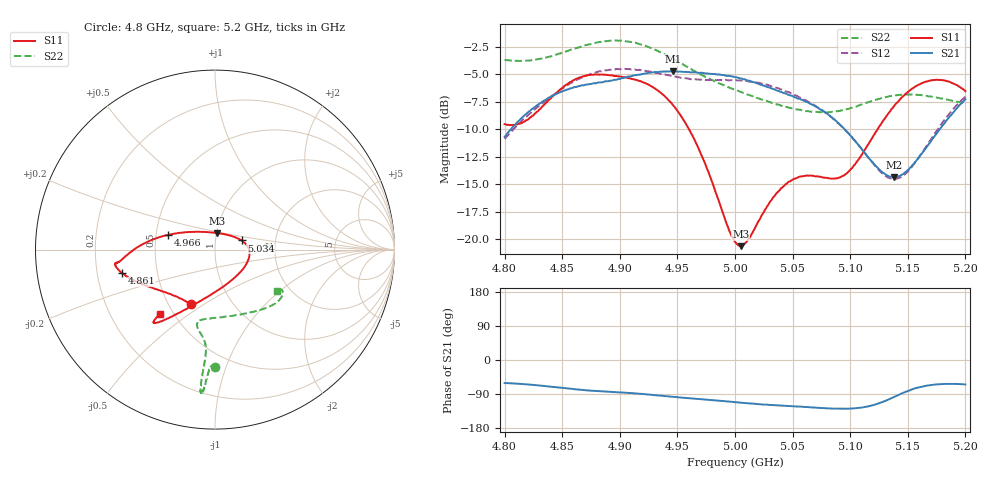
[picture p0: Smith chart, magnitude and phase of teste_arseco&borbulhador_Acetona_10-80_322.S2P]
! Network Analyzer HP8722D
! Hewlett-Packard
! Data name: Linha & Wilkinson
! Saver's name: Rodrigo Anjos
! Comments: Teste da utilização de aquisição
! continua pelo VNA HP8722D
! Time and date: 17/4/2025 17:02
!  Frequency  S11  S21  S12  S22
# HZ  S  MA R 50
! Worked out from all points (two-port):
!   401 points, 4.8 GHz to 5.2 GHz, reference 50 ohm
!   highest |S21| = -4.71 dB at 4.946 GHz (marker M1); lowest = -14.4 dB at 5.138 GHz (marker M2)
!   |S21| within 3 dB of the highest: 4.83 GHz to 5.066 GHz (236.6 MHz wide, 4.78 % of centre); 5.195709 GHz to end of sweep
!   lowest |S11| = -20.7 dB at 5.005 GHz (marker M3), VSWR 1.20, Z = 50.4 + j9.35 ohm
!   |S11| at or under -10 dB: 4.96 GHz to 5.124 GHz (163.6 MHz wide, 3.25 % of centre)
!   |S22| runs from -8.5 to -1.9 dB; largest |S21 - S12| = 0.87
!   S11 on the Smith chart (normalised r, x): 4.8 GHz: 0.64, -0.44; 4.861 GHz: 0.31, -0.11; 4.966 GHz: 0.58, +0.10; 5.034 GHz: 1.34, +0.14; 5.2 GHz: 0.42, -0.39
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4.8e9  0.334 -113.8  0.292 -60.9  0.2864 -175.1  0.6565 -90.1
4.819e9  0.3483 -133.8  0.3726 -64.3  0.3614 -173.8  0.6506 -91.7
4.861e9  0.5333 -165.7  0.4925 -77.3  0.5259 -177.0  0.7384 -94.0
4.867e9  0.5487 -168.1  0.5026 -78.9  0.5438 -178.0  0.7556 -94.1
4.9e9  0.5502 -172.5  0.537 -85.5  0.5938 175.4  0.8027 -95.5
4.934e9  0.4715 -178.3  0.5779 -93.8  0.5689 171.6  0.7152 -95.8
4.946e9  0.4089 176.2  0.5813 -97.1  0.5527 171.9  0.6636 -95.7
4.966e9  0.275 162.7  0.5744 -102.3  0.535 173.5  0.5793 -95.0
5e9  0.09714 100.3  0.5475 -111.4  0.53 176.0  0.4786 -99.2
5.005e9  0.09279 82.0  0.5393 -112.9  0.5279 175.9  0.468 -100.3
5.012e9  0.1005 58.6  0.5272 -114.4  0.5219 175.7  0.4539 -101.8
5.034e9  0.1564 18.9  0.4812 -119.3  0.4938 174.6  0.4144 -103.5
5.05e9  0.1863 2.7  0.449 -122.1  0.4576 173.9  0.3936 -99.4
5.067e9  0.1945 -15.5  0.409 -125.2  0.413 173.4  0.381 -90.4
5.087e9  0.1888 -47.8  0.3475 -128.5  0.3465 173.6  0.3817 -75.1
5.097e9  0.1992 -68.1  0.3087 -128.6  0.3092 174.7  0.3909 -66.9
5.134e9  0.3786 -117.1  0.1929 -103.3  0.1895 -156.1  0.4472 -43.0
5.138e9  0.4032 -119.3  0.191 -97.6  0.188 -149.8  0.4505 -41.2
5.151e9  0.4721 -125.0  0.2083 -80.5  0.2062 -130.1  0.4559 -36.5
5.17e9  0.5285 -129.3  0.2787 -66.1  0.284 -112.2  0.4462 -32.1
5.184e9  0.524 -130.5  0.3499 -63.1  0.3616 -107.5  0.4325 -31.1
5.2e9  0.4722 -130.7  0.4334 -64.6  0.4457 -106.7  0.4151 -33.5
